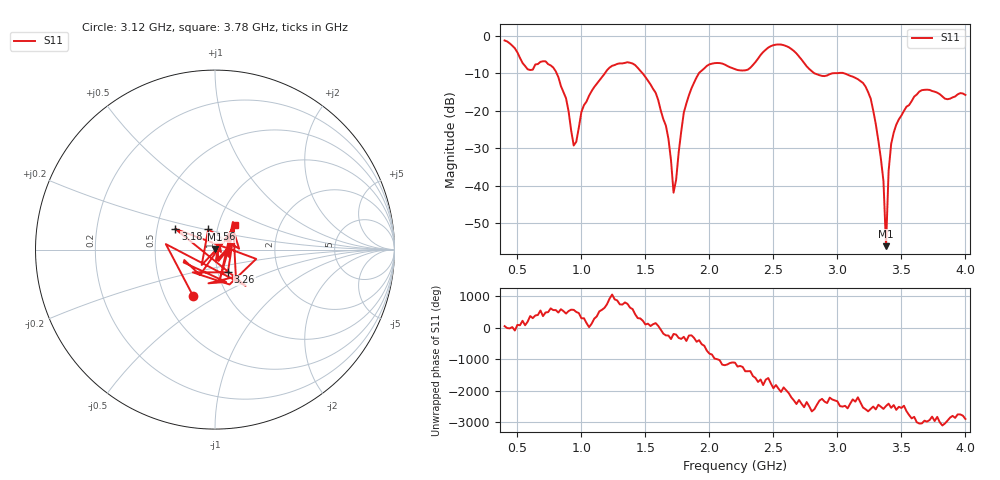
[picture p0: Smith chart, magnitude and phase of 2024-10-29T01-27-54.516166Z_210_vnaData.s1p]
!Created with skrf (http://scikit-rf.org).
# Hz S RI R 50.0
!freq ReS11 ImS11
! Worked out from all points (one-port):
!   181 points, 400 MHz to 4 GHz, reference 50 ohm
!   lowest |S11| = -56.2 dB at 3.38 GHz (marker M1), VSWR 1.00, Z = 50.1 + j0.0901 ohm
!   |S11| at or under -10 dB: 806.9 MHz to 1.183 GHz (376 MHz wide, 37.8 % of centre); 1.478 GHz to 1.918 GHz (439.3 MHz wide, 25.9 % of centre); 3.053 GHz to end of sweep (the widest 3 of 4)
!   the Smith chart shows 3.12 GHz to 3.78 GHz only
!   S11 on the Smith chart (normalised r, x): 3.12 GHz: 0.69, -0.39; 3.18 GHz: 0.62, +0.15; 3.26 GHz: 1.12, -0.29; 3.56 GHz: 0.91, +0.21; 3.78 GHz: 1.20, +0.33
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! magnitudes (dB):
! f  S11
! 400 MHz  -1.2
! 580 MHz  -8.9
! 780 MHz  -8.4
! 860 MHz  -15.0
! 940 MHz  -29.3
! 1.08 GHz  -14.7
! 1.3 GHz  -7.3
! 1.58 GHz  -15.2
! 1.68 GHz  -27.5
! 1.72 GHz  -41.9
! 1.76 GHz  -31.2
! 1.8 GHz  -20.5
! 1.92 GHz  -9.9
! 2.2 GHz  -8.9
! 2.5 GHz  -2.5
! 2.66 GHz  -4.0
! 2.82 GHz  -10.0
! 3.1 GHz  -10.7
! 3.12 GHz  -10.9
! 3.18 GHz  -12.1
! 3.26 GHz  -16.7
! 3.36 GHz  -38.9
! 3.38 GHz  -56.2
! 3.4 GHz  -36.1
! 3.42 GHz  -28.9
! 3.56 GHz  -18.5
! 3.78 GHz  -15.2
! 4 GHz  -15.8
